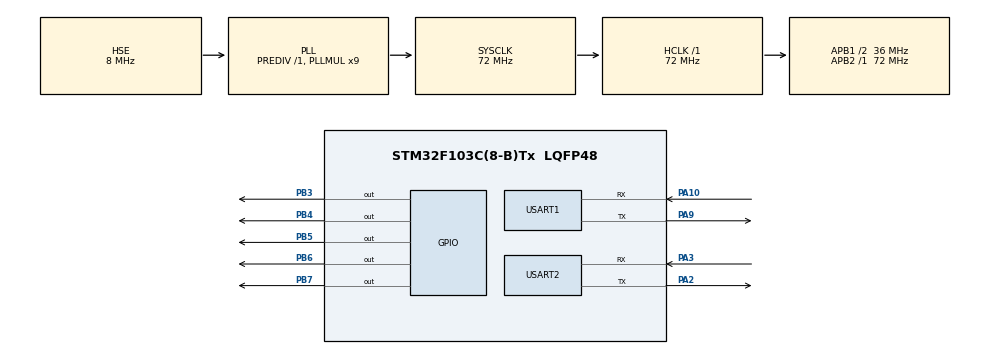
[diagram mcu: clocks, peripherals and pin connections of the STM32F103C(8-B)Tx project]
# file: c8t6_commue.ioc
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Mcu.Family=STM32F1
Mcu.Name=STM32F103C(8-B)Tx
Mcu.Package=LQFP48
NVIC.PriorityGroup=NVIC_PRIORITYGROUP_4
NVIC.USART1_IRQn=true\:0\:0\:false\:false\:true\:true\:true\:true
NVIC.USART2_IRQn=true\:0\:0\:false\:false\:true\:true\:true\:true
PA10.Mode=Asynchronous
PA10.Signal=USART1_RX
PA13.Mode=Serial_Wire
PA13.Signal=SYS_JTMS-SWDIO
PA14.Mode=Serial_Wire
PA14.Signal=SYS_JTCK-SWCLK
PA2.Mode=Asynchronous
PA2.Signal=USART2_TX
PA3.Mode=Asynchronous
PA3.Signal=USART2_RX
PA9.Mode=Asynchronous
PA9.Signal=USART1_TX
PB3.Signal=GPIO_Output
PB4.Signal=GPIO_Output
PB5.Signal=GPIO_Output
PB6.Signal=GPIO_Output
PB7.Signal=GPIO_Output
PD0-OSC_IN.Mode=HSE-External-Oscillator
PD0-OSC_IN.Signal=RCC_OSC_IN
PD1-OSC_OUT.Mode=HSE-External-Oscillator
PD1-OSC_OUT.Signal=RCC_OSC_OUT
ProjectManager.HeapSize=0x200
ProjectManager.StackSize=0x400
ProjectManager.TargetToolchain=MDK-ARM V5.32
RCC.AHBFreq_Value=72000000
RCC.APB1CLKDivider=RCC_HCLK_DIV2
RCC.APB1Freq_Value=36000000
RCC.APB1TimFreq_Value=72000000
RCC.APB2Freq_Value=72000000
RCC.APB2TimFreq_Value=72000000
RCC.HCLKFreq_Value=72000000
RCC.PLLMUL=RCC_PLL_MUL9
RCC.PLLSourceVirtual=RCC_PLLSOURCE_HSE
RCC.SYSCLKFreq_VALUE=72000000
RCC.SYSCLKSource=RCC_SYSCLKSOURCE_PLLCLK
RCC.USBFreq_Value=72000000
USART1.VirtualMode=VM_ASYNC
USART2.VirtualMode=VM_ASYNC
board=custom

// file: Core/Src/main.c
/* USER CODE BEGIN Header */
/**
  ******************************************************************************
  * @file           : main.c
  * @brief          : Main program body
  ******************************************************************************
  * @attention
  *
  * Copyright (c) 2024 STMicroelectronics.
  * All rights reserved.
  *
  * This software is licensed under terms that can be found in the LICENSE file
  * in the root directory of this software component.
  * If no LICENSE file comes with this software, it is provided AS-IS.
  *
  ******************************************************************************
  */
/* USER CODE END Header */
#include "main.h"

UART_HandleTypeDef huart1;
UART_HandleTypeDef huart2;

/* USER CODE BEGIN PV */

uint8_t IC_Data_buff[2][22];
uint8_t IC_Data_now[2] = {0};
uint8_t IC_Data_last[2] = {0};
uint8_t IC_Data_SPI;
uint8_t IC_Data_mode = 0;	//制一重置
uint8_t IC_Data_valid[10] = {0x11,0x12,0x13,0x14,0x21,0x22,0x23,0x31,0x32,0x33};
uint8_t IC_Data_recorded[10] = {0};
HAL_StatusTypeDef h;

/* USER CODE END PV */

void SystemClock_Config(void);
static void MX_GPIO_Init(void);
static void MX_USART1_UART_Init(void);
static void MX_USART2_UART_Init(void);

/* USER CODE BEGIN 0 */

uint8_t IC_Data_check_valid(uint8_t now)
{
	for(int i = 0;i<10;i++)
	{
		if(now == IC_Data_valid[i])
		{
			return 1;
		}
	}
	return 0;
}

//static
uint8_t now_cnt = 0;

void IC_Data_record(uint8_t record)
{
	if(!IC_Data_check_valid(record))
	{
		return;
	}
	int i = 0;
	for(i = 0;i<now_cnt;i++)
	{
		if(record == IC_Data_recorded[i])
		{
			return;
		}
	}
	IC_Data_recorded[now_cnt++] = record;
}

uint8_t encode(uint8_t now)
{
	switch(now)
	{
		case 0x11:
			return 0x01;
		case 0x12:
			return 0x02;
		case 0x13:
			return 0x03;
		case 0x14:
			return 0x04;
		case 0x21:
			return 0x05;
		case 0x22:
			return 0x06;
		case 0x23:
			return 0x07;
		case 0x31:
			return 0x08;
		case 0x32:
			return 0x09;
		case 0x33:
			return 0x0A;
		default:
			break;
	}
}

#define	GET_BIT(x, bit)	((x & (1 << bit)) >> bit)	/* 获取第bit位 */

uint8_t a;
uint8_t b;
uint8_t c;
uint8_t d;
uint8_t last_code = 0;
void write_code(uint8_t code)
{
	a = GET_BIT(code,0);
	b = GET_BIT(code,1);
	c = GET_BIT(code,2);
	d = GET_BIT(code,3);
	HAL_GPIO_WritePin(GPIOB, GPIO_PIN_3, a);
	HAL_GPIO_WritePin(GPIOB, GPIO_PIN_4, b);
	HAL_GPIO_WritePin(GPIOB, GPIO_PIN_5, c);
	HAL_GPIO_WritePin(GPIOB, GPIO_PIN_6, d);
}

/* USER CODE END 0 */

int main(void)
{

  /* MCU Configuration--------------------------------------------------------*/

  /* Reset of all peripherals, Initializes the Flash interface and the Systick. */
  HAL_Init();

  /* Configure the system clock */
  SystemClock_Config();

  /* Initialize all configured peripherals */
  MX_GPIO_Init();
  MX_USART1_UART_Init();
  MX_USART2_UART_Init();
  /* USER CODE BEGIN 2 */

//  HAL_UARTEx_ReceiveToIdle_IT(&huart1, IC_Data_buff[0], 22);
  HAL_UARTEx_ReceiveToIdle_IT(&huart2, IC_Data_buff[0], 22);

  /* USER CODE END 2 */

  /* Infinite loop */
  /* USER CODE BEGIN WHILE */
  while (1)
  {

//	IC_Data_record(IC_Data_now[0]);
//	IC_Data_record(IC_Data_now[1]);
	  write_code(encode(IC_Data_now[1]));
	  HAL_Delay(1);
//	if(now_cnt >= 1)
//	{
//		IC_Data_SPI = IC_Data_recorded[now_cnt-1];
//		h = HAL_SPI_TransmitReceive(&hspi1, &IC_Data_SPI, &IC_Data_mode, 1, 100);
//		HAL_SPI_Transmit(&hspi1, &IC_Data_SPI, 1, 10);
//		write_code(encode(IC_Data_SPI));
//	}

    /* USER CODE END WHILE */

  }
}

void SystemClock_Config(void)
{
  RCC_OscInitTypeDef RCC_OscInitStruct = {0};
  RCC_ClkInitTypeDef RCC_ClkInitStruct = {0};

  /** Initializes the RCC Oscillators according to the specified parameters
  * in the RCC_OscInitTypeDef structure.
  */
  RCC_OscInitStruct.OscillatorType = RCC_OSCILLATORTYPE_HSE;
  RCC_OscInitStruct.HSEState = RCC_HSE_ON;
  RCC_OscInitStruct.HSEPredivValue = RCC_HSE_PREDIV_DIV1;
  RCC_OscInitStruct.HSIState = RCC_HSI_ON;
  RCC_OscInitStruct.PLL.PLLState = RCC_PLL_ON;
  RCC_OscInitStruct.PLL.PLLSource = RCC_PLLSOURCE_HSE;
  RCC_OscInitStruct.PLL.PLLMUL = RCC_PLL_MUL9;
  if (HAL_RCC_OscConfig(&RCC_OscInitStruct) != HAL_OK)
  {
    Error_Handler();
  }

  /** Initializes the CPU, AHB and APB buses clocks
  */
  RCC_ClkInitStruct.ClockType = RCC_CLOCKTYPE_HCLK|RCC_CLOCKTYPE_SYSCLK
                              |RCC_CLOCKTYPE_PCLK1|RCC_CLOCKTYPE_PCLK2;
  RCC_ClkInitStruct.SYSCLKSource = RCC_SYSCLKSOURCE_PLLCLK;
  RCC_ClkInitStruct.AHBCLKDivider = RCC_SYSCLK_DIV1;
  RCC_ClkInitStruct.APB1CLKDivider = RCC_HCLK_DIV2;
  RCC_ClkInitStruct.APB2CLKDivider = RCC_HCLK_DIV1;

  if (HAL_RCC_ClockConfig(&RCC_ClkInitStruct, FLASH_LATENCY_2) != HAL_OK)
  {
    Error_Handler();
  }
}

static void MX_USART1_UART_Init(void)
{

  huart1.Instance = USART1;
  huart1.Init.BaudRate = 115200;
  huart1.Init.WordLength = UART_WORDLENGTH_8B;
  huart1.Init.StopBits = UART_STOPBITS_1;
  huart1.Init.Parity = UART_PARITY_NONE;
  huart1.Init.Mode = UART_MODE_TX_RX;
  huart1.Init.HwFlowCtl = UART_HWCONTROL_NONE;
  huart1.Init.OverSampling = UART_OVERSAMPLING_16;
  if (HAL_UART_Init(&huart1) != HAL_OK)
  {
    Error_Handler();
  }

}

static void MX_USART2_UART_Init(void)
{

  huart2.Instance = USART2;
  huart2.Init.BaudRate = 115200;
  huart2.Init.WordLength = UART_WORDLENGTH_8B;
  huart2.Init.StopBits = UART_STOPBITS_1;
  huart2.Init.Parity = UART_PARITY_NONE;
  huart2.Init.Mode = UART_MODE_TX_RX;
  huart2.Init.HwFlowCtl = UART_HWCONTROL_NONE;
  huart2.Init.OverSampling = UART_OVERSAMPLING_16;
  if (HAL_UART_Init(&huart2) != HAL_OK)
  {
    Error_Handler();
  }

}

static void MX_GPIO_Init(void)
{
  GPIO_InitTypeDef GPIO_InitStruct = {0};

  /* GPIO Ports Clock Enable */
  __HAL_RCC_GPIOD_CLK_ENABLE();
  __HAL_RCC_GPIOA_CLK_ENABLE();
  __HAL_RCC_GPIOB_CLK_ENABLE();

  /*Configure GPIO pin Output Level */
  HAL_GPIO_WritePin(GPIOB, GPIO_PIN_3|GPIO_PIN_4|GPIO_PIN_5|GPIO_PIN_6
                          |GPIO_PIN_7, GPIO_PIN_RESET);

  /*Configure GPIO pins : PB3 PB4 PB5 PB6
                           PB7 */
  GPIO_InitStruct.Pin = GPIO_PIN_3|GPIO_PIN_4|GPIO_PIN_5|GPIO_PIN_6
                          |GPIO_PIN_7;
  GPIO_InitStruct.Mode = GPIO_MODE_OUTPUT_PP;
  GPIO_InitStruct.Pull = GPIO_NOPULL;
  GPIO_InitStruct.Speed = GPIO_SPEED_FREQ_LOW;
  HAL_GPIO_Init(GPIOB, &GPIO_InitStruct);

}

/* USER CODE BEGIN 4 */

void HAL_UARTEx_RxEventCallback(UART_HandleTypeDef *huart, uint16_t Size)
{
//	if(huart == &huart1)//IC卡数据接收中断
//	{
//		HAL_UARTEx_ReceiveToIdle_IT(&huart1, IC_Data_buff[0], 22);
//		if(IC_Data_buff[0][0] == 0x04 && IC_Data_buff[0][1] == 0x16)
//		{
//			uint8_t X = 0;
//			for(uint8_t i = 0;i < 21 ; i++) X^=IC_Data_buff[0][i];//数据校验
//			X=~X;//数据校验
//			if(X == IC_Data_buff[0][21])
//			{
//				IC_Data_last[0] = IC_Data_now[0];
//				IC_Data_now[0] = IC_Data_buff[0][15];//校验成功
//			}
//		}
//	}

	if(huart == &huart2)//IC卡数据接收中断
	{
		HAL_UARTEx_ReceiveToIdle_IT(&huart2, IC_Data_buff[1], 22);
		if(IC_Data_buff[1][0] == 0x04 && IC_Data_buff[1][1] == 0x16)
		{
			uint8_t X = 0;
			for(uint8_t i = 0;i < 21 ; i++) X^=IC_Data_buff[1][i];//数据校验
			X=~X;//数据校验
			if(X == IC_Data_buff[1][21])
			{
//				IC_Data_last[1] = IC_Data_now[1];
				IC_Data_now[1] = IC_Data_buff[1][15];//校验成功
			}
		}
	}
}

/* USER CODE END 4 */

void Error_Handler(void)
{
  __disable_irq();
  while (1)
  {
  }
}
